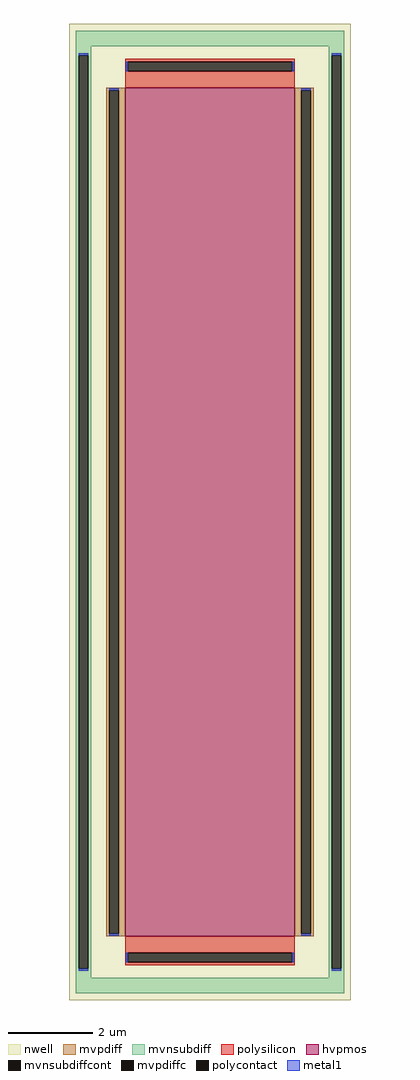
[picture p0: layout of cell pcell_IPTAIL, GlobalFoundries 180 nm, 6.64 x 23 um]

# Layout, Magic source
magic
tech gf180mcuD
magscale 1 10
<< nwell >>
rect -664 -2300 664 2300
<< hvpmos >>
rect -400 -2000 400 2000
<< mvpdiff >>
rect -488 1987 -400 2000
rect -488 -1987 -475 1987
rect -429 -1987 -400 1987
rect -488 -2000 -400 -1987
rect 400 1987 488 2000
rect 400 -1987 429 1987
rect 475 -1987 488 1987
rect 400 -2000 488 -1987
<< mvpdiffc >>
rect -475 -1987 -429 1987
rect 429 -1987 475 1987
<< mvnsubdiff >>
rect -632 2196 632 2268
rect -632 2152 -560 2196
rect -632 -2152 -619 2152
rect -573 -2152 -560 2152
rect 560 2152 632 2196
rect -632 -2196 -560 -2152
rect 560 -2152 573 2152
rect 619 -2152 632 2152
rect 560 -2196 632 -2152
rect -632 -2268 632 -2196
<< mvnsubdiffcont >>
rect -619 -2152 -573 2152
rect 573 -2152 619 2152
<< polysilicon >>
rect -400 2123 400 2136
rect -400 2077 -387 2123
rect 387 2077 400 2123
rect -400 2000 400 2077
rect -400 -2077 400 -2000
rect -400 -2123 -387 -2077
rect 387 -2123 400 -2077
rect -400 -2136 400 -2123
<< polycontact >>
rect -387 2077 387 2123
rect -387 -2123 387 -2077
<< metal1 >>
rect -619 2152 -573 2163
rect 573 2152 619 2163
rect -398 2077 -387 2123
rect 387 2077 398 2123
rect -475 1987 -429 1998
rect -475 -1998 -429 -1987
rect 429 1987 475 1998
rect 429 -1998 475 -1987
rect -398 -2123 -387 -2077
rect 387 -2123 398 -2077
rect -619 -2163 -573 -2152
rect 573 -2163 619 -2152
<< properties >>
string FIXED_BBOX -5960 -22320 5960 22320
<< end >>
